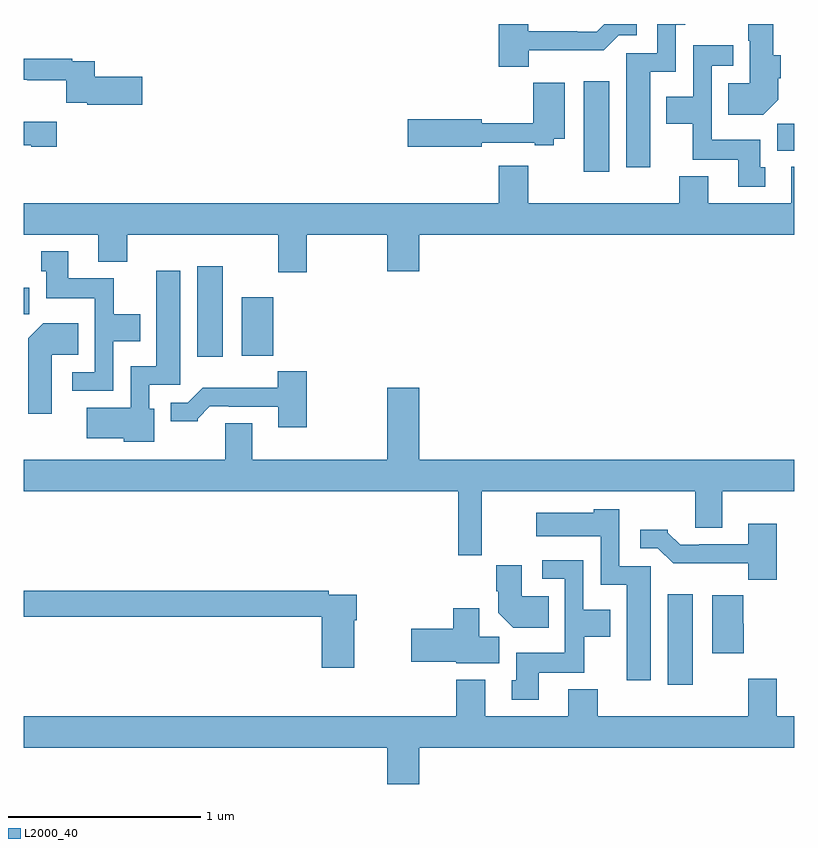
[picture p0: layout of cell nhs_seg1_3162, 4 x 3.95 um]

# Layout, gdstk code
import gdstk
lib = gdstk.Library(unit=1e-6, precision=1e-09)
def R(c, l, rs):  # rectangles x0, y0, x1, y1
    for r in rs: c.add(gdstk.rectangle(r[:2], r[2:], *l))
def P(c, l, *ps):  # polygons
    for p in ps: c.add(gdstk.Polygon(p, *l))
L2000_40 = (2000, 40)

nhs_seg1_3162 = lib.new_cell('nhs_seg1_3162')
R(nhs_seg1_3162, L2000_40, [(286.343,510.768,286.474,511.237), (283.901,512.472,284.032,512.941), (283,512.692,283.027,512.83), (285.908,513.432,286.039,513.901), (286.913,513.542,287,513.68)])
P(nhs_seg1_3162, L2000_40, [(285.622,514.062),(286.011,514.062),(286.089,514.14),(286.183,514.14),(286.183,514.199),(286.015,514.199),(285.974,514.158),(285.875,514.158),(285.875,514.161),(285.619,514.161),(285.619,514.199),(285.467,514.199),(285.467,513.977),(285.622,513.977)],
  [(286.918,513.806),(286.918,513.916),(286.931,513.916),(286.931,514.038),(286.891,514.038),(286.891,514.199),(286.762,514.199),(286.762,514.112),(286.769,514.112),(286.769,513.892),(286.657,513.892),(286.657,513.728),(286.84,513.728)],
  [(286.252,513.95),(286.386,513.95),(286.386,514.195),(286.434,514.195),(286.434,514.199),(286.29,514.199),(286.29,514.047),(286.127,514.047),(286.127,513.456),(286.252,513.456)],
  [(286.849,513.456),(286.825,513.456),(286.825,513.598),(286.572,513.598),(286.572,513.981),(286.684,513.981),(286.684,514.089),(286.476,514.089),(286.476,513.82),(286.337,513.82),(286.337,513.68),(286.474,513.68),(286.474,513.494),(286.709,513.494),(286.709,513.354),(286.849,513.354)],
  [(283.615,513.926),(283.367,513.926),(283.367,514.005),(283.25,514.005),(283.25,514.018),(283,514.018),(283,513.909),(283.018,513.909),(283.018,513.908),(283.219,513.908),(283.219,513.791),(283.33,513.791),(283.33,513.779),(283.615,513.779)],
  [(285.378,513.582),(285.653,513.582),(285.653,513.57),(285.753,513.57),(285.753,513.602),(285.808,513.602),(285.808,513.895),(285.646,513.895),(285.646,513.683),(285.378,513.683),(285.378,513.704),(284.994,513.704),(284.994,513.562),(285.378,513.562)],
  [(283.171,513.691),(283,513.691),(283,513.569),(283.038,513.569),(283.038,513.562),(283.171,513.562)],
  [(284.469,513.104),(284.888,513.104),(284.888,512.916),(285.052,512.916),(285.052,513.104),(287,513.104),(287,513.457),(286.985,513.457),(286.985,513.268),(286.555,513.268),(286.555,513.409),(286.403,513.409),(286.403,513.268),(285.619,513.268),(285.619,513.463),(285.467,513.463),(285.467,513.268),(283,513.268),(283,513.104),(283.385,513.104),(283.385,512.963),(283.538,512.963),(283.538,513.104),(284.321,513.104),(284.321,512.91),(284.469,512.91)],
  [(283.464,512.552),(283.603,512.552),(283.603,512.692),(283.467,512.692),(283.467,512.878),(283.231,512.878),(283.231,513.019),(283.091,513.019),(283.091,512.916),(283.115,512.916),(283.115,512.774),(283.368,512.774),(283.368,512.391),(283.251,512.391),(283.251,512.295),(283.464,512.295)],
  [(283.678,512.202),(283.65,512.202),(283.65,512.325),(283.813,512.325),(283.813,512.917),(283.688,512.917),(283.688,512.422),(283.554,512.422),(283.554,512.206),(283.326,512.206),(283.326,512.048),(283.518,512.048),(283.518,512.03),(283.678,512.03)],
  [(284.294,512.625),(284.296,512.625),(284.296,512.779),(284.132,512.779),(284.132,512.477),(284.294,512.477)],
  [(283.144,512.48),(283.283,512.48),(283.283,512.644),(283.1,512.644),(283.022,512.566),(283.022,512.175),(283.144,512.175)],
  [(284.469,512.395),(284.319,512.395),(284.319,512.311),(283.93,512.311),(283.851,512.232),(283.763,512.232),(283.763,512.135),(283.902,512.135),(283.902,512.15),(283.966,512.214),(284.065,512.214),(284.065,512.211),(284.321,512.211),(284.321,512.106),(284.469,512.106)],
  [(285.377,511.772),(286.487,511.772),(286.487,511.582),(286.627,511.582),(286.627,511.772),(287,511.772),(287,511.936),(285.052,511.936),(285.052,512.311),(284.888,512.311),(284.888,511.936),(284.185,511.936),(284.185,512.126),(284.045,512.126),(284.045,511.936),(283,511.936),(283,511.772),(285.256,511.772),(285.256,511.44),(285.377,511.44)],
  [(286.255,511.383),(286.092,511.383),(286.092,511.678),(285.96,511.678),(285.96,511.66),(285.66,511.66),(285.66,511.538),(285.996,511.538),(285.996,511.286),(286.13,511.286),(286.13,510.792),(286.255,510.792)],
  [(286.911,511.603),(286.763,511.603),(286.763,511.497),(286.507,511.497),(286.507,511.494),(286.408,511.494),(286.344,511.558),(286.344,511.573),(286.2,511.573),(286.2,511.476),(286.293,511.476),(286.372,511.398),(286.761,511.398),(286.761,511.313),(286.911,511.313)],
  [(285.673,510.83),(285.909,510.83),(285.909,511.016),(286.045,511.016),(286.045,511.156),(285.906,511.156),(285.906,511.413),(285.693,511.413),(285.693,511.317),(285.81,511.317),(285.81,510.934),(285.557,510.934),(285.557,510.792),(285.533,510.792),(285.533,510.69),(285.673,510.69)],
  [(285.725,511.228),(285.586,511.228),(285.586,511.387),(285.452,511.387),(285.452,511.252),(285.464,511.252),(285.464,511.142),(285.542,511.064),(285.725,511.064)],
  [(284.716,511.103),(284.729,511.103),(284.729,511.236),(284.582,511.236),(284.582,511.256),(283,511.256),(283,511.12),(284.546,511.12),(284.546,510.855),(284.716,510.855)],
  [(286.738,511.083),(286.736,511.083),(286.736,511.231),(286.574,511.231),(286.574,510.93),(286.738,510.93)],
  [(285.469,511.016),(285.364,511.016),(285.364,511.165),(285.23,511.165),(285.23,511.058),(285.012,511.058),(285.012,510.887),(285.246,510.887),(285.246,510.878),(285.469,510.878)],
  [(283,510.44),(284.888,510.44),(284.888,510.252),(285.052,510.252),(285.052,510.44),(287,510.44),(287,510.604),(286.911,510.604),(286.911,510.799),(286.763,510.799),(286.763,510.604),(285.98,510.604),(285.98,510.745),(285.827,510.745),(285.827,510.604),(285.397,510.604),(285.397,510.793),(285.245,510.793),(285.245,510.604),(283,510.604)])

lib.write_gds('nhs_seg1_3162.gds')
